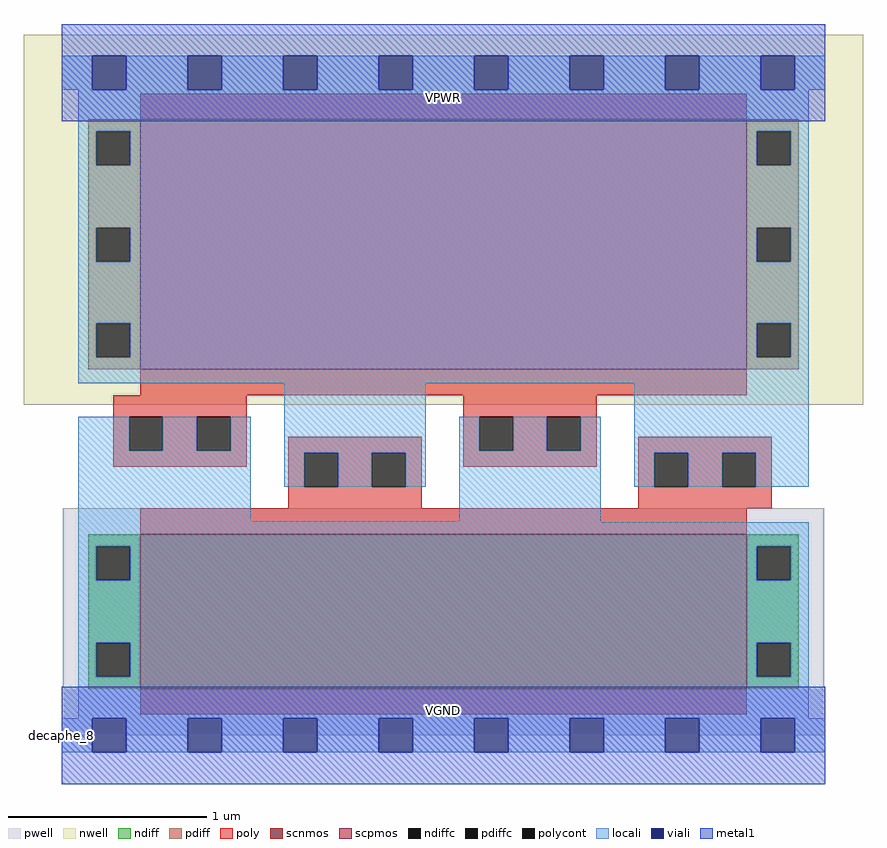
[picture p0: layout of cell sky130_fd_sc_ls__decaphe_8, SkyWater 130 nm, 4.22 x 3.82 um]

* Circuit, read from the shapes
.subckt sky130_fd_sc_ls__decaphe_8 VGND VNB VPB VPWR
XM1 VGND VPWR VGND VNB sky130_fd_pr__nfet_01v8 w=0.775 l=3.05
XM2 VPWR VGND VPWR VPB sky130_fd_pr__pfet_01v8 w=1.255 l=3.05
.ends

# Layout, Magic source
magic
tech sky130A
magscale 1 2
<< nwell >>
rect -38 332 806 704
<< pwell >>
rect 1 49 767 228
rect 0 0 768 49
<< scnmos >>
rect 79 47 689 202
<< scpmos >>
rect 79 368 689 619
<< ndiff >>
rect 27 190 79 202
rect 27 156 35 190
rect 69 156 79 190
rect 27 93 79 156
rect 27 59 35 93
rect 69 59 79 93
rect 27 47 79 59
rect 689 190 741 202
rect 689 156 699 190
rect 733 156 741 190
rect 689 93 741 156
rect 689 59 699 93
rect 733 59 741 93
rect 689 47 741 59
<< pdiff >>
rect 27 607 79 619
rect 27 573 35 607
rect 69 573 79 607
rect 27 510 79 573
rect 27 476 35 510
rect 69 476 79 510
rect 27 414 79 476
rect 27 380 35 414
rect 69 380 79 414
rect 27 368 79 380
rect 689 607 741 619
rect 689 573 699 607
rect 733 573 741 607
rect 689 510 741 573
rect 689 476 699 510
rect 733 476 741 510
rect 689 414 741 476
rect 689 380 699 414
rect 733 380 741 414
rect 689 368 741 380
<< ndiffc >>
rect 35 156 69 190
rect 35 59 69 93
rect 699 156 733 190
rect 699 59 733 93
<< pdiffc >>
rect 35 573 69 607
rect 35 476 69 510
rect 35 380 69 414
rect 699 573 733 607
rect 699 476 733 510
rect 699 380 733 414
<< poly >>
rect 79 619 689 645
rect 79 342 689 368
rect 52 320 186 342
rect 52 286 68 320
rect 102 286 136 320
rect 170 286 186 320
rect 404 320 538 342
rect 52 270 186 286
rect 228 284 362 300
rect 228 250 244 284
rect 278 250 312 284
rect 346 250 362 284
rect 404 286 420 320
rect 454 286 488 320
rect 522 286 538 320
rect 404 270 538 286
rect 580 284 714 300
rect 228 228 362 250
rect 580 250 596 284
rect 630 250 664 284
rect 698 250 714 284
rect 580 228 714 250
rect 79 202 689 228
rect 79 21 689 47
<< polycont >>
rect 68 286 102 320
rect 136 286 170 320
rect 244 250 278 284
rect 312 250 346 284
rect 420 286 454 320
rect 488 286 522 320
rect 596 250 630 284
rect 664 250 698 284
<< locali >>
rect 0 649 31 683
rect 65 649 127 683
rect 161 649 223 683
rect 257 649 319 683
rect 353 649 415 683
rect 449 649 511 683
rect 545 649 607 683
rect 641 649 703 683
rect 737 649 768 683
rect 17 607 751 649
rect 17 573 35 607
rect 69 573 699 607
rect 733 573 751 607
rect 17 510 751 573
rect 17 476 35 510
rect 69 476 699 510
rect 733 476 751 510
rect 17 414 751 476
rect 17 380 35 414
rect 69 380 699 414
rect 733 380 751 414
rect 17 354 751 380
rect 17 286 68 320
rect 102 286 136 320
rect 170 286 190 320
rect 17 215 190 286
rect 224 284 366 354
rect 224 250 244 284
rect 278 250 312 284
rect 346 250 366 284
rect 400 286 420 320
rect 454 286 488 320
rect 522 286 542 320
rect 400 215 542 286
rect 576 284 751 354
rect 576 250 596 284
rect 630 250 664 284
rect 698 250 751 284
rect 17 214 542 215
rect 17 190 751 214
rect 17 156 35 190
rect 69 156 699 190
rect 733 156 751 190
rect 17 93 751 156
rect 17 59 35 93
rect 69 59 699 93
rect 733 59 751 93
rect 17 17 751 59
rect 0 -17 31 17
rect 65 -17 127 17
rect 161 -17 223 17
rect 257 -17 319 17
rect 353 -17 415 17
rect 449 -17 511 17
rect 545 -17 607 17
rect 641 -17 703 17
rect 737 -17 768 17
<< viali >>
rect 31 649 65 683
rect 127 649 161 683
rect 223 649 257 683
rect 319 649 353 683
rect 415 649 449 683
rect 511 649 545 683
rect 607 649 641 683
rect 703 649 737 683
rect 31 -17 65 17
rect 127 -17 161 17
rect 223 -17 257 17
rect 319 -17 353 17
rect 415 -17 449 17
rect 511 -17 545 17
rect 607 -17 641 17
rect 703 -17 737 17
<< metal1 >>
rect 0 683 768 715
rect 0 649 31 683
rect 65 649 127 683
rect 161 649 223 683
rect 257 649 319 683
rect 353 649 415 683
rect 449 649 511 683
rect 545 649 607 683
rect 641 649 703 683
rect 737 649 768 683
rect 0 617 768 649
rect 0 17 768 49
rect 0 -17 31 17
rect 65 -17 127 17
rect 161 -17 223 17
rect 257 -17 319 17
rect 353 -17 415 17
rect 449 -17 511 17
rect 545 -17 607 17
rect 641 -17 703 17
rect 737 -17 768 17
rect 0 -49 768 -17
<< labels >>
flabel metal1 s 0 0 768 49 0 FreeSans 340 0 0 0 VGND
port 1 nsew ground bidirectional abutment
flabel metal1 s 0 617 768 666 0 FreeSans 340 0 0 0 VPWR
port 4 nsew power bidirectional abutment
rlabel comment s 0 0 0 0 4 decaphe_8
flabel nwell s 0 617 768 666 0 FreeSans 200 0 0 0 VPB
port 3 nsew power bidirectional
flabel pwell s 0 0 768 49 0 FreeSans 200 0 0 0 VNB
port 2 nsew ground bidirectional
<< properties >>
string LEFsite unit
string LEFclass CORE
string FIXED_BBOX 0 0 768 666
string GDS_FILE $PDKPATH/libs.ref/sky130_fd_sc_ls/gds/sky130_fd_sc_ls.gds
string LEFsymmetry X Y R90
string GDS_END 3520486
string GDS_START 3516534
<< end >>
